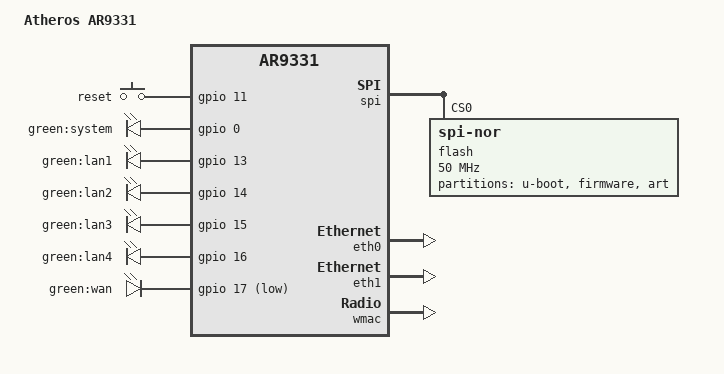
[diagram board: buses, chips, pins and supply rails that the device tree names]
// SPDX-License-Identifier: GPL-2.0-or-later OR MIT

#include "ar9331.dtsi"

#include <dt-bindings/gpio/gpio.h>
#include <dt-bindings/input/input.h>

/ {
	compatible = "atheros,ar9331", "qca,ar9331";
	model = "Atheros AR9331";

	aliases {
		led-boot = &led_system;
		led-failsafe = &led_system;
		led-running = &led_system;
		led-upgrade = &led_system;
		label-mac-device = &wmac;
	};

	keys {
		compatible = "gpio-keys";

		reset {
			label = "reset";
			gpios = <&gpio 11 GPIO_ACTIVE_HIGH>;
			linux,code = <KEY_RESTART>;
		};
	};

	leds {
		compatible = "gpio-leds";

		pinctrl-names = "default";
		pinctrl-0 = <&switch_led_disable_pins>;

		led_system: system {
			label = "green:system";
			gpios = <&gpio 0 GPIO_ACTIVE_HIGH>;
		};

		lan1 {
			label = "green:lan1";
			gpios = <&gpio 13 GPIO_ACTIVE_HIGH>;
		};

		lan2 {
			label = "green:lan2";
			gpios = <&gpio 14 GPIO_ACTIVE_HIGH>;
		};

		lan3 {
			label = "green:lan3";
			gpios = <&gpio 15 GPIO_ACTIVE_HIGH>;
		};

		lan4 {
			label = "green:lan4";
			gpios = <&gpio 16 GPIO_ACTIVE_HIGH>;
		};

		wan {
			label = "green:wan";
			gpios = <&gpio 17 GPIO_ACTIVE_LOW>;
		};
	};
};

&spi {
	status = "okay";

	flash@0 {
		compatible = "jedec,spi-nor";
		reg = <0>;
		spi-max-frequency = <50000000>;
		m25p,fast-read;

		partitions {
			compatible = "fixed-partitions";
			#address-cells = <1>;
			#size-cells = <1>;

			partition@0 {
				label = "u-boot";
				reg = <0x0 0x20000>;
				read-only;
			};

			partition@20000 {
				compatible = "tplink,firmware";
				label = "firmware";
				reg = <0x20000 0x7d0000>;
			};

			art: partition@7f0000 {
				label = "art";
				reg = <0x7f0000 0x10000>;
				read-only;
			};
		};
	};
};

&eth0 {
	status = "okay";

	mtd-mac-address = <&art 0x8>;
};

&eth1 {
	status = "okay";

	mtd-mac-address = <&art 0x0>;
};

&wmac {
	status = "okay";

	mtd-cal-data = <&art 0x1000>;
	mtd-mac-address = <&art 0x0>;
};
